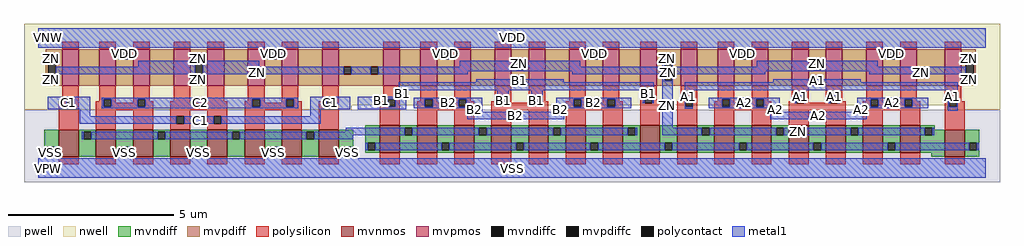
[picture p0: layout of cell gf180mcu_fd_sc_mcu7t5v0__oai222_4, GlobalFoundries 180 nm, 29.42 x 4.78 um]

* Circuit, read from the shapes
.subckt gf180mcu_fd_sc_mcu7t5v0__oai222_4 A1 A2 B1 B2 C1 C2 ZN VDD VNW VPW VSS
XM1 n1 C1 VSS VPW nfet_06v0 w=0.82u l=0.6u m=4
XM2 VSS C2 n1 VPW nfet_06v0 w=0.82u l=0.6u m=4
XM3 n1 B1 n2 VPW nfet_06v0 w=0.82u l=0.6u m=4
XM4 n2 B2 n1 VPW nfet_06v0 w=0.82u l=0.6u m=4
XM5 ZN A1 n2 VPW nfet_06v0 w=0.82u l=0.6u m=4
XM6 n2 A2 ZN VPW nfet_06v0 w=0.82u l=0.6u m=4
XM7 n3 C1 ZN VNW pfet_06v0 w=1.095u l=0.5u
XM8 VDD C2 n3 VNW pfet_06v0 w=1.095u l=0.5u
XM9 n4 C2 VDD VNW pfet_06v0 w=1.095u l=0.5u
XM10 ZN C1 n4 VNW pfet_06v0 w=1.095u l=0.5u
XM11 n5 C1 ZN VNW pfet_06v0 w=1.095u l=0.5u
XM12 VDD C2 n5 VNW pfet_06v0 w=1.095u l=0.5u
XM13 n6 C2 VDD VNW pfet_06v0 w=1.095u l=0.5u
XM14 ZN C1 n6 VNW pfet_06v0 w=1.095u l=0.5u
XM15 n7 B1 ZN VNW pfet_06v0 w=1.095u l=0.5u
XM16 VDD B2 n7 VNW pfet_06v0 w=1.095u l=0.5u
XM17 n8 B2 VDD VNW pfet_06v0 w=1.095u l=0.5u
XM18 ZN B1 n8 VNW pfet_06v0 w=1.095u l=0.5u
XM19 n9 B1 ZN VNW pfet_06v0 w=1.095u l=0.5u
XM20 VDD B2 n9 VNW pfet_06v0 w=1.095u l=0.5u
XM21 n10 B2 VDD VNW pfet_06v0 w=1.095u l=0.5u
XM22 ZN B1 n10 VNW pfet_06v0 w=1.095u l=0.5u
XM23 n11 A1 ZN VNW pfet_06v0 w=1.095u l=0.5u
XM24 VDD A2 n11 VNW pfet_06v0 w=1.095u l=0.5u
XM25 n12 A2 VDD VNW pfet_06v0 w=1.095u l=0.5u
XM26 ZN A1 n12 VNW pfet_06v0 w=1.095u l=0.5u
XM27 n13 A1 ZN VNW pfet_06v0 w=1.095u l=0.5u
XM28 VDD A2 n13 VNW pfet_06v0 w=1.095u l=0.5u
XM29 n14 A2 VDD VNW pfet_06v0 w=1.095u l=0.5u
XM30 ZN A1 n14 VNW pfet_06v0 w=1.095u l=0.5u
.ends

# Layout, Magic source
magic
tech gf180mcuD
magscale 1 10
<< nwell >>
rect -86 377 5798 870
rect -86 352 1890 377
rect 5479 352 5798 377
<< pwell >>
rect -86 -86 5798 352
<< mvnmos >>
rect 124 68 244 232
rect 348 68 468 232
rect 572 68 692 232
rect 796 68 916 232
rect 1020 68 1140 232
rect 1244 68 1364 232
rect 1468 68 1588 232
rect 1692 68 1812 232
rect 2060 93 2180 257
rect 2284 93 2404 257
rect 2508 93 2628 257
rect 2732 93 2852 257
rect 2956 93 3076 257
rect 3180 93 3300 257
rect 3404 93 3524 257
rect 3628 93 3748 257
rect 3852 93 3972 257
rect 4076 93 4196 257
rect 4300 93 4420 257
rect 4524 93 4644 257
rect 4748 93 4868 257
rect 4972 93 5092 257
rect 5196 93 5316 257
rect 5464 68 5584 232
<< mvpmos >>
rect 144 497 244 716
rect 368 497 468 716
rect 572 497 672 716
rect 816 497 916 716
rect 1020 497 1120 716
rect 1264 497 1364 716
rect 1468 497 1568 716
rect 1712 497 1812 716
rect 2080 497 2180 716
rect 2304 497 2404 716
rect 2508 497 2608 716
rect 2752 497 2852 716
rect 2956 497 3056 716
rect 3200 497 3300 716
rect 3404 497 3504 716
rect 3628 497 3728 716
rect 3872 497 3972 716
rect 4096 497 4196 716
rect 4300 497 4400 716
rect 4544 497 4644 716
rect 4748 497 4848 716
rect 4992 497 5092 716
rect 5196 497 5296 716
rect 5464 497 5564 716
<< mvndiff >>
rect 36 127 124 232
rect 36 81 49 127
rect 95 81 124 127
rect 36 68 124 81
rect 244 219 348 232
rect 244 173 273 219
rect 319 173 348 219
rect 244 68 348 173
rect 468 127 572 232
rect 468 81 497 127
rect 543 81 572 127
rect 468 68 572 81
rect 692 219 796 232
rect 692 173 721 219
rect 767 173 796 219
rect 692 68 796 173
rect 916 127 1020 232
rect 916 81 945 127
rect 991 81 1020 127
rect 916 68 1020 81
rect 1140 219 1244 232
rect 1140 173 1169 219
rect 1215 173 1244 219
rect 1140 68 1244 173
rect 1364 127 1468 232
rect 1364 81 1393 127
rect 1439 81 1468 127
rect 1364 68 1468 81
rect 1588 219 1692 232
rect 1588 173 1617 219
rect 1663 173 1692 219
rect 1588 68 1692 173
rect 1812 127 1900 232
rect 1812 81 1841 127
rect 1887 81 1900 127
rect 1972 152 2060 257
rect 1972 106 1985 152
rect 2031 106 2060 152
rect 1972 93 2060 106
rect 2180 244 2284 257
rect 2180 198 2209 244
rect 2255 198 2284 244
rect 2180 93 2284 198
rect 2404 152 2508 257
rect 2404 106 2433 152
rect 2479 106 2508 152
rect 2404 93 2508 106
rect 2628 244 2732 257
rect 2628 198 2657 244
rect 2703 198 2732 244
rect 2628 93 2732 198
rect 2852 152 2956 257
rect 2852 106 2881 152
rect 2927 106 2956 152
rect 2852 93 2956 106
rect 3076 244 3180 257
rect 3076 198 3105 244
rect 3151 198 3180 244
rect 3076 93 3180 198
rect 3300 152 3404 257
rect 3300 106 3329 152
rect 3375 106 3404 152
rect 3300 93 3404 106
rect 3524 244 3628 257
rect 3524 198 3553 244
rect 3599 198 3628 244
rect 3524 93 3628 198
rect 3748 152 3852 257
rect 3748 106 3777 152
rect 3823 106 3852 152
rect 3748 93 3852 106
rect 3972 244 4076 257
rect 3972 198 4001 244
rect 4047 198 4076 244
rect 3972 93 4076 198
rect 4196 152 4300 257
rect 4196 106 4225 152
rect 4271 106 4300 152
rect 4196 93 4300 106
rect 4420 244 4524 257
rect 4420 198 4449 244
rect 4495 198 4524 244
rect 4420 93 4524 198
rect 4644 152 4748 257
rect 4644 106 4673 152
rect 4719 106 4748 152
rect 4644 93 4748 106
rect 4868 244 4972 257
rect 4868 198 4897 244
rect 4943 198 4972 244
rect 4868 93 4972 198
rect 5092 152 5196 257
rect 5092 106 5121 152
rect 5167 106 5196 152
rect 5092 93 5196 106
rect 5316 244 5404 257
rect 5316 198 5345 244
rect 5391 232 5404 244
rect 5391 198 5464 232
rect 5316 93 5464 198
rect 1812 68 1900 81
rect 5384 68 5464 93
rect 5584 152 5672 232
rect 5584 106 5613 152
rect 5659 106 5672 152
rect 5584 68 5672 106
<< mvpdiff >>
rect 46 665 144 716
rect 46 525 59 665
rect 105 525 144 665
rect 46 497 144 525
rect 244 497 368 716
rect 468 702 572 716
rect 468 656 497 702
rect 543 656 572 702
rect 468 497 572 656
rect 672 497 816 716
rect 916 665 1020 716
rect 916 525 945 665
rect 991 525 1020 665
rect 916 497 1020 525
rect 1120 497 1264 716
rect 1364 703 1468 716
rect 1364 657 1393 703
rect 1439 657 1468 703
rect 1364 497 1468 657
rect 1568 497 1712 716
rect 1812 610 2080 716
rect 1812 564 1841 610
rect 1887 564 2005 610
rect 2051 564 2080 610
rect 1812 497 2080 564
rect 2180 497 2304 716
rect 2404 703 2508 716
rect 2404 657 2433 703
rect 2479 657 2508 703
rect 2404 497 2508 657
rect 2608 497 2752 716
rect 2852 639 2956 716
rect 2852 593 2881 639
rect 2927 593 2956 639
rect 2852 497 2956 593
rect 3056 497 3200 716
rect 3300 703 3404 716
rect 3300 657 3329 703
rect 3375 657 3404 703
rect 3300 497 3404 657
rect 3504 497 3628 716
rect 3728 665 3872 716
rect 3728 525 3777 665
rect 3823 525 3872 665
rect 3728 497 3872 525
rect 3972 497 4096 716
rect 4196 703 4300 716
rect 4196 657 4225 703
rect 4271 657 4300 703
rect 4196 497 4300 657
rect 4400 497 4544 716
rect 4644 639 4748 716
rect 4644 593 4673 639
rect 4719 593 4748 639
rect 4644 497 4748 593
rect 4848 497 4992 716
rect 5092 703 5196 716
rect 5092 657 5121 703
rect 5167 657 5196 703
rect 5092 497 5196 657
rect 5296 497 5464 716
rect 5564 665 5652 716
rect 5564 525 5593 665
rect 5639 525 5652 665
rect 5564 497 5652 525
<< mvndiffc >>
rect 49 81 95 127
rect 273 173 319 219
rect 497 81 543 127
rect 721 173 767 219
rect 945 81 991 127
rect 1169 173 1215 219
rect 1393 81 1439 127
rect 1617 173 1663 219
rect 1841 81 1887 127
rect 1985 106 2031 152
rect 2209 198 2255 244
rect 2433 106 2479 152
rect 2657 198 2703 244
rect 2881 106 2927 152
rect 3105 198 3151 244
rect 3329 106 3375 152
rect 3553 198 3599 244
rect 3777 106 3823 152
rect 4001 198 4047 244
rect 4225 106 4271 152
rect 4449 198 4495 244
rect 4673 106 4719 152
rect 4897 198 4943 244
rect 5121 106 5167 152
rect 5345 198 5391 244
rect 5613 106 5659 152
<< mvpdiffc >>
rect 59 525 105 665
rect 497 656 543 702
rect 945 525 991 665
rect 1393 657 1439 703
rect 1841 564 1887 610
rect 2005 564 2051 610
rect 2433 657 2479 703
rect 2881 593 2927 639
rect 3329 657 3375 703
rect 3777 525 3823 665
rect 4225 657 4271 703
rect 4673 593 4719 639
rect 5121 657 5167 703
rect 5593 525 5639 665
<< polysilicon >>
rect 144 716 244 760
rect 368 716 468 760
rect 572 716 672 760
rect 816 716 916 760
rect 1020 716 1120 760
rect 1264 716 1364 760
rect 1468 716 1568 760
rect 1712 716 1812 760
rect 2080 716 2180 760
rect 2304 716 2404 760
rect 2508 716 2608 760
rect 2752 716 2852 760
rect 2956 716 3056 760
rect 3200 716 3300 760
rect 3404 716 3504 760
rect 3628 716 3728 760
rect 3872 716 3972 760
rect 4096 716 4196 760
rect 4300 716 4400 760
rect 4544 716 4644 760
rect 4748 716 4848 760
rect 4992 716 5092 760
rect 5196 716 5296 760
rect 5464 716 5564 760
rect 144 415 244 497
rect 144 402 171 415
rect 124 369 171 402
rect 217 369 244 415
rect 368 415 468 497
rect 368 402 395 415
rect 124 232 244 369
rect 348 369 395 402
rect 441 394 468 415
rect 572 415 672 497
rect 572 394 599 415
rect 441 369 599 394
rect 645 402 672 415
rect 816 402 916 497
rect 645 369 692 402
rect 348 348 692 369
rect 348 232 468 348
rect 572 232 692 348
rect 796 394 916 402
rect 1020 402 1120 497
rect 1264 415 1364 497
rect 1264 402 1291 415
rect 1020 394 1140 402
rect 796 348 1140 394
rect 796 312 916 348
rect 796 266 833 312
rect 879 266 916 312
rect 796 232 916 266
rect 1020 312 1140 348
rect 1020 266 1057 312
rect 1103 266 1140 312
rect 1020 232 1140 266
rect 1244 369 1291 402
rect 1337 394 1364 415
rect 1468 415 1568 497
rect 1468 394 1495 415
rect 1337 369 1495 394
rect 1541 402 1568 415
rect 1712 415 1812 497
rect 1712 402 1739 415
rect 1541 369 1588 402
rect 1244 348 1588 369
rect 1244 232 1364 348
rect 1468 232 1588 348
rect 1692 369 1739 402
rect 1785 369 1812 415
rect 2080 415 2180 497
rect 2080 402 2107 415
rect 1692 232 1812 369
rect 2060 369 2107 402
rect 2153 369 2180 415
rect 2304 415 2404 497
rect 2304 402 2331 415
rect 2060 257 2180 369
rect 2284 369 2331 402
rect 2377 394 2404 415
rect 2508 415 2608 497
rect 2508 394 2535 415
rect 2377 369 2535 394
rect 2581 402 2608 415
rect 2752 436 2852 497
rect 2752 402 2779 436
rect 2581 369 2628 402
rect 2284 348 2628 369
rect 2284 257 2404 348
rect 2508 257 2628 348
rect 2732 390 2779 402
rect 2825 394 2852 436
rect 2956 436 3056 497
rect 2956 394 2983 436
rect 2825 390 2983 394
rect 3029 402 3056 436
rect 3200 415 3300 497
rect 3200 402 3227 415
rect 3029 390 3076 402
rect 2732 348 3076 390
rect 2732 257 2852 348
rect 2956 257 3076 348
rect 3180 369 3227 402
rect 3273 394 3300 415
rect 3404 415 3504 497
rect 3404 394 3431 415
rect 3273 369 3431 394
rect 3477 402 3504 415
rect 3628 436 3728 497
rect 3477 369 3524 402
rect 3180 348 3524 369
rect 3180 257 3300 348
rect 3404 257 3524 348
rect 3628 390 3655 436
rect 3701 402 3728 436
rect 3872 415 3972 497
rect 3872 402 3899 415
rect 3701 390 3748 402
rect 3628 257 3748 390
rect 3852 369 3899 402
rect 3945 369 3972 415
rect 4096 415 4196 497
rect 4096 402 4123 415
rect 3852 257 3972 369
rect 4076 369 4123 402
rect 4169 394 4196 415
rect 4300 415 4400 497
rect 4300 394 4327 415
rect 4169 369 4327 394
rect 4373 402 4400 415
rect 4544 436 4644 497
rect 4544 402 4571 436
rect 4373 369 4420 402
rect 4076 348 4420 369
rect 4076 257 4196 348
rect 4300 257 4420 348
rect 4524 390 4571 402
rect 4617 394 4644 436
rect 4748 436 4848 497
rect 4748 394 4775 436
rect 4617 390 4775 394
rect 4821 402 4848 436
rect 4992 415 5092 497
rect 4992 402 5019 415
rect 4821 390 4868 402
rect 4524 348 4868 390
rect 4524 257 4644 348
rect 4748 257 4868 348
rect 4972 369 5019 402
rect 5065 394 5092 415
rect 5196 415 5296 497
rect 5196 394 5223 415
rect 5065 369 5223 394
rect 5269 402 5296 415
rect 5464 415 5564 497
rect 5269 369 5316 402
rect 4972 348 5316 369
rect 4972 257 5092 348
rect 5196 257 5316 348
rect 5464 369 5491 415
rect 5537 402 5564 415
rect 5537 369 5584 402
rect 5464 232 5584 369
rect 124 24 244 68
rect 348 24 468 68
rect 572 24 692 68
rect 796 24 916 68
rect 1020 24 1140 68
rect 1244 24 1364 68
rect 1468 24 1588 68
rect 1692 24 1812 68
rect 2060 24 2180 93
rect 2284 24 2404 93
rect 2508 24 2628 93
rect 2732 24 2852 93
rect 2956 24 3076 93
rect 3180 24 3300 93
rect 3404 24 3524 93
rect 3628 24 3748 93
rect 3852 24 3972 93
rect 4076 24 4196 93
rect 4300 24 4420 93
rect 4524 24 4644 93
rect 4748 24 4868 93
rect 4972 24 5092 93
rect 5196 24 5316 93
rect 5464 24 5584 68
<< polycontact >>
rect 171 369 217 415
rect 395 369 441 415
rect 599 369 645 415
rect 833 266 879 312
rect 1057 266 1103 312
rect 1291 369 1337 415
rect 1495 369 1541 415
rect 1739 369 1785 415
rect 2107 369 2153 415
rect 2331 369 2377 415
rect 2535 369 2581 415
rect 2779 390 2825 436
rect 2983 390 3029 436
rect 3227 369 3273 415
rect 3431 369 3477 415
rect 3655 390 3701 436
rect 3899 369 3945 415
rect 4123 369 4169 415
rect 4327 369 4373 415
rect 4571 390 4617 436
rect 4775 390 4821 436
rect 5019 369 5065 415
rect 5223 369 5269 415
rect 5491 369 5537 415
<< metal1 >>
rect 0 724 5712 844
rect 486 702 554 724
rect 59 665 105 676
rect 486 656 497 702
rect 543 656 554 702
rect 1382 703 1450 724
rect 945 665 991 676
rect 604 610 945 648
rect 105 564 945 610
rect 59 506 105 525
rect 1382 657 1393 703
rect 1439 657 1450 703
rect 2422 703 2490 724
rect 2422 657 2433 703
rect 2479 657 2490 703
rect 3318 703 3386 724
rect 3318 657 3329 703
rect 3375 657 3386 703
rect 4214 703 4282 724
rect 3762 665 3824 676
rect 991 610 1332 648
rect 2540 639 3268 648
rect 2540 610 2881 639
rect 991 564 1841 610
rect 1887 564 2005 610
rect 2051 593 2881 610
rect 2927 610 3268 639
rect 3762 610 3777 665
rect 2927 593 3777 610
rect 2051 584 3777 593
rect 2051 564 2590 584
rect 3218 564 3777 584
rect 945 506 991 525
rect 2640 516 3168 536
rect 3762 525 3777 564
rect 3823 610 3824 665
rect 4214 657 4225 703
rect 4271 657 4282 703
rect 5110 703 5178 724
rect 5110 657 5121 703
rect 5167 657 5178 703
rect 5593 665 5639 676
rect 4332 639 5060 648
rect 4332 610 4673 639
rect 3823 593 4673 610
rect 4719 610 5060 639
rect 4719 593 5593 610
rect 3823 584 5593 593
rect 3823 564 4382 584
rect 5010 564 5593 584
rect 3823 525 3824 564
rect 2172 470 3712 516
rect 2172 430 2218 470
rect 56 415 314 430
rect 56 369 171 415
rect 217 369 314 415
rect 56 354 314 369
rect 384 415 1568 424
rect 384 369 395 415
rect 441 369 599 415
rect 645 369 1291 415
rect 1337 369 1495 415
rect 1541 369 1568 415
rect 384 360 1568 369
rect 1640 415 1880 430
rect 1640 369 1739 415
rect 1785 369 1880 415
rect 251 312 314 354
rect 1640 354 1880 369
rect 1926 415 2218 430
rect 2768 436 2836 470
rect 1926 369 2107 415
rect 2153 369 2218 415
rect 1926 354 2218 369
rect 2264 415 2678 424
rect 2264 369 2331 415
rect 2377 369 2535 415
rect 2581 369 2678 415
rect 2768 390 2779 436
rect 2825 390 2836 436
rect 2972 436 3040 470
rect 2972 390 2983 436
rect 3029 390 3040 436
rect 3644 436 3712 470
rect 3124 415 3574 424
rect 2264 360 2678 369
rect 1640 312 1703 354
rect 251 266 833 312
rect 879 266 1057 312
rect 1103 266 1703 312
rect 2586 340 2678 360
rect 3124 369 3227 415
rect 3273 369 3431 415
rect 3477 369 3574 415
rect 3644 390 3655 436
rect 3701 390 3712 436
rect 3124 360 3574 369
rect 3124 340 3170 360
rect 2586 294 3170 340
rect 3762 244 3824 525
rect 4432 516 4960 536
rect 3898 470 5543 516
rect 5593 506 5639 525
rect 3898 415 3946 470
rect 4560 436 4628 470
rect 3898 369 3899 415
rect 3945 369 3946 415
rect 3898 358 3946 369
rect 4042 415 4470 424
rect 4042 369 4123 415
rect 4169 369 4327 415
rect 4373 369 4470 415
rect 4560 390 4571 436
rect 4617 390 4628 436
rect 4764 436 4832 470
rect 4764 390 4775 436
rect 4821 390 4832 436
rect 4938 415 5366 424
rect 4042 360 4470 369
rect 4414 340 4470 360
rect 4938 369 5019 415
rect 5065 369 5223 415
rect 5269 369 5366 415
rect 4938 360 5366 369
rect 5484 415 5543 470
rect 5484 369 5491 415
rect 5537 369 5543 415
rect 4938 340 4994 360
rect 5484 344 5543 369
rect 4414 294 4994 340
rect 1853 219 2209 244
rect 262 173 273 219
rect 319 173 721 219
rect 767 173 1169 219
rect 1215 173 1617 219
rect 1663 198 2209 219
rect 2255 198 2657 244
rect 2703 198 3105 244
rect 3151 198 3553 244
rect 3599 198 3610 244
rect 3762 198 4001 244
rect 4047 198 4449 244
rect 4495 198 4897 244
rect 4943 198 5345 244
rect 5391 198 5402 244
rect 1663 173 1899 198
rect 38 81 49 127
rect 95 81 106 127
rect 38 60 106 81
rect 486 81 497 127
rect 543 81 554 127
rect 486 60 554 81
rect 934 81 945 127
rect 991 81 1002 127
rect 934 60 1002 81
rect 1382 81 1393 127
rect 1439 81 1450 127
rect 1382 60 1450 81
rect 1830 81 1841 127
rect 1887 81 1898 127
rect 1972 106 1985 152
rect 2031 106 2433 152
rect 2479 106 2881 152
rect 2927 106 3329 152
rect 3375 106 3777 152
rect 3823 106 4225 152
rect 4271 106 4673 152
rect 4719 106 5121 152
rect 5167 106 5613 152
rect 5659 106 5672 152
rect 1830 60 1898 81
rect 0 -60 5712 60
<< labels >>
flabel metal1 s 2640 516 3168 536 0 FreeSans 400 0 0 0 B1
port 3 nsew default input
flabel metal1 s 3124 360 3574 424 0 FreeSans 400 0 0 0 B2
port 4 nsew default input
flabel metal1 s 1640 354 1880 430 0 FreeSans 400 0 0 0 C1
port 5 nsew default input
flabel metal1 s 384 360 1568 424 0 FreeSans 400 0 0 0 C2
port 6 nsew default input
flabel metal1 s 0 724 5712 844 0 FreeSans 400 0 0 0 VDD
port 8 nsew power bidirectional abutment
flabel metal1 s 1830 60 1898 127 0 FreeSans 400 0 0 0 VSS
port 11 nsew ground bidirectional abutment
flabel metal1 s 5593 648 5639 676 0 FreeSans 400 0 0 0 ZN
port 7 nsew default output
flabel metal1 s 4432 516 4960 536 0 FreeSans 400 0 0 0 A1
port 1 nsew default input
flabel metal1 s 4938 360 5366 424 0 FreeSans 400 0 0 0 A2
port 2 nsew default input
flabel nwell s 10 734 110 834 0 FreeSans 400 0 0 0 VNW
port 9 nsew power bidirectional
flabel pwell s 10 -50 110 50 0 FreeSans 400 0 0 0 VPW
port 10 nsew ground bidirectional
rlabel metal1 s 3898 470 5543 516 1 A1
port 1 nsew default input
rlabel metal1 s 5484 390 5543 470 1 A1
port 1 nsew default input
rlabel metal1 s 4764 390 4832 470 1 A1
port 1 nsew default input
rlabel metal1 s 4560 390 4628 470 1 A1
port 1 nsew default input
rlabel metal1 s 3898 390 3946 470 1 A1
port 1 nsew default input
rlabel metal1 s 5484 358 5543 390 1 A1
port 1 nsew default input
rlabel metal1 s 3898 358 3946 390 1 A1
port 1 nsew default input
rlabel metal1 s 5484 344 5543 358 1 A1
port 1 nsew default input
rlabel metal1 s 4042 360 4470 424 1 A2
port 2 nsew default input
rlabel metal1 s 4938 340 4994 360 1 A2
port 2 nsew default input
rlabel metal1 s 4414 340 4470 360 1 A2
port 2 nsew default input
rlabel metal1 s 4414 294 4994 340 1 A2
port 2 nsew default input
rlabel metal1 s 2172 470 3712 516 1 B1
port 3 nsew default input
rlabel metal1 s 3644 430 3712 470 1 B1
port 3 nsew default input
rlabel metal1 s 2972 430 3040 470 1 B1
port 3 nsew default input
rlabel metal1 s 2768 430 2836 470 1 B1
port 3 nsew default input
rlabel metal1 s 2172 430 2218 470 1 B1
port 3 nsew default input
rlabel metal1 s 3644 390 3712 430 1 B1
port 3 nsew default input
rlabel metal1 s 2972 390 3040 430 1 B1
port 3 nsew default input
rlabel metal1 s 2768 390 2836 430 1 B1
port 3 nsew default input
rlabel metal1 s 1926 390 2218 430 1 B1
port 3 nsew default input
rlabel metal1 s 1926 354 2218 390 1 B1
port 3 nsew default input
rlabel metal1 s 2264 360 2678 424 1 B2
port 4 nsew default input
rlabel metal1 s 3124 340 3170 360 1 B2
port 4 nsew default input
rlabel metal1 s 2586 340 2678 360 1 B2
port 4 nsew default input
rlabel metal1 s 2586 294 3170 340 1 B2
port 4 nsew default input
rlabel metal1 s 56 354 314 430 1 C1
port 5 nsew default input
rlabel metal1 s 1640 312 1703 354 1 C1
port 5 nsew default input
rlabel metal1 s 251 312 314 354 1 C1
port 5 nsew default input
rlabel metal1 s 251 266 1703 312 1 C1
port 5 nsew default input
rlabel metal1 s 3762 648 3824 676 1 ZN
port 7 nsew default output
rlabel metal1 s 945 648 991 676 1 ZN
port 7 nsew default output
rlabel metal1 s 59 648 105 676 1 ZN
port 7 nsew default output
rlabel metal1 s 5593 610 5639 648 1 ZN
port 7 nsew default output
rlabel metal1 s 4332 610 5060 648 1 ZN
port 7 nsew default output
rlabel metal1 s 3762 610 3824 648 1 ZN
port 7 nsew default output
rlabel metal1 s 2540 610 3268 648 1 ZN
port 7 nsew default output
rlabel metal1 s 604 610 1332 648 1 ZN
port 7 nsew default output
rlabel metal1 s 59 610 105 648 1 ZN
port 7 nsew default output
rlabel metal1 s 59 584 5639 610 1 ZN
port 7 nsew default output
rlabel metal1 s 5010 564 5639 584 1 ZN
port 7 nsew default output
rlabel metal1 s 3218 564 4382 584 1 ZN
port 7 nsew default output
rlabel metal1 s 59 564 2590 584 1 ZN
port 7 nsew default output
rlabel metal1 s 5593 506 5639 564 1 ZN
port 7 nsew default output
rlabel metal1 s 3762 506 3824 564 1 ZN
port 7 nsew default output
rlabel metal1 s 945 506 991 564 1 ZN
port 7 nsew default output
rlabel metal1 s 59 506 105 564 1 ZN
port 7 nsew default output
rlabel metal1 s 3762 244 3824 506 1 ZN
port 7 nsew default output
rlabel metal1 s 3762 198 5402 244 1 ZN
port 7 nsew default output
rlabel metal1 s 5110 657 5178 724 1 VDD
port 8 nsew power bidirectional abutment
rlabel metal1 s 4214 657 4282 724 1 VDD
port 8 nsew power bidirectional abutment
rlabel metal1 s 3318 657 3386 724 1 VDD
port 8 nsew power bidirectional abutment
rlabel metal1 s 2422 657 2490 724 1 VDD
port 8 nsew power bidirectional abutment
rlabel metal1 s 1382 657 1450 724 1 VDD
port 8 nsew power bidirectional abutment
rlabel metal1 s 486 657 554 724 1 VDD
port 8 nsew power bidirectional abutment
rlabel metal1 s 486 656 554 657 1 VDD
port 8 nsew power bidirectional abutment
rlabel metal1 s 1382 60 1450 127 1 VSS
port 11 nsew ground bidirectional abutment
rlabel metal1 s 934 60 1002 127 1 VSS
port 11 nsew ground bidirectional abutment
rlabel metal1 s 486 60 554 127 1 VSS
port 11 nsew ground bidirectional abutment
rlabel metal1 s 38 60 106 127 1 VSS
port 11 nsew ground bidirectional abutment
rlabel metal1 s 0 -60 5712 60 1 VSS
port 11 nsew ground bidirectional abutment
<< properties >>
string FIXED_BBOX 0 0 5712 784
string GDS_END 143716
string GDS_FILE $PDKPATH/libs.ref/gf180mcu_fd_sc_mcu7t5v0/gds/gf180mcu_fd_sc_mcu7t5v0.gds
string GDS_START 133802
string LEFclass core
string LEFsite GF018hv5v_mcu_sc7
string LEFsymmetry X Y
<< end >>
